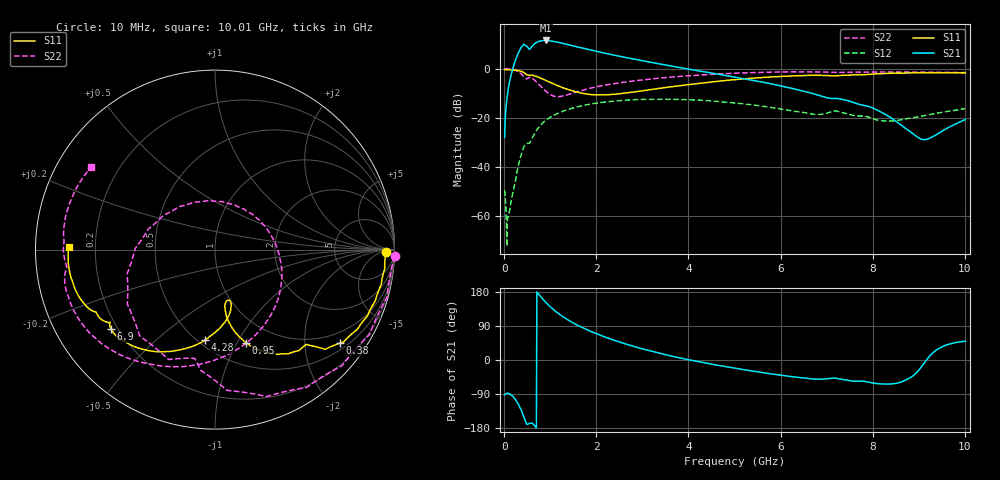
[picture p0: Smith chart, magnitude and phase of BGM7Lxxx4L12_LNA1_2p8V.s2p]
! (c) 2014 Infineon Technologies AG
! BGM7Lxxx4L12 - Silicon Germanium Quad-Band LTE LNA bank
! 20 May 2014
! Special Application Board
! C1 = L1 = 0 Ohm
! C2 = 100 nF
! Vcc = 2.8V
! RF input and output lines de-embedded
! Port 1 reference plane: LNA input AI (pin 8)
! Port 2 reference plane: LNA output AO (pin 7)
! Network Data:
! Measured BGM7Lxxx4L12 device level s-parameters
# GHz S MA R 50
!Freq  MagS11  AngS11  MagS21  AngS21  MagS12  AngS12  MagS22  AngS22
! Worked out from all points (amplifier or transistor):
!   1001 points, 10 MHz to 10.01 GHz, reference 50 ohm
!   highest |S21| = 11.4 dB at 910 MHz (marker M1)
!   |S21| within 3 dB of that: 579.2 MHz to 1.668 GHz (1.089 GHz wide, 96.9 % of centre)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
!   unconditionally stable (mu >= 1): 12.84 MHz to end of sweep
!   at 1.67 GHz: K = 1.13, MAG = 9.6 dB, |S12| = -15.2 dB
!   at 5.01 GHz: K = 1.26, MAG = 2.2 dB, |S12| = -14.0 dB
!   at 10.01 GHz: K = 4.23, MAG = -11.5 dB, |S12| = -16.3 dB
!   lowest NFmin = 0.61 dB at 800 MHz
!   S11 on the Smith chart (normalised r, x): 10 MHz: 38, -11; 380 MHz: 0.67, -2.87; 950 MHz: 0.74, -1.09; 4.28 GHz: 0.55, -0.74; 6.9 GHz: 0.17, -0.33; 10.01 GHz: 0.10, +0.01
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0.01  0.9529 -0.8  0.03963 -91.4  0.003366 -18.5  1.001 -2.2
0.09  0.9465 -8.3  0.3927 -88.9  0.001022 178.1  0.9803 -19.8
0.22  0.9287 -20.5  1.267 -101.2  0.004181 -174.4  0.9288 -49.2
0.38  0.8702 -36.7  2.751 -134.9  0.01893 168.5  0.7649 -86.7
0.45  0.7998 -43.1  3 -156.3  0.02686 152.5  0.6547 -98.0
0.5  0.7455 -45.6  2.79 -169.5  0.03002 142.7  0.6207 -102.9
0.57  0.7314 -47.4  2.576 -167.2  0.03316 144.2  0.6454 -118.8
0.64  0.7183 -52.5  3.043 -170.7  0.04415 144.1  0.5965 -139.2
0.74  0.6707 -60.1  3.532 175.2  0.06164 136.1  0.4926 -167.1
0.91  0.5703 -69.9  3.729 151.3  0.08933 120.1  0.3451 146.5
0.95  0.5474 -71.4  3.689 146.4  0.09482 116.5  0.3181 135.8
1.24  0.4186 -78.8  3.302 117.2  0.1313 96.6  0.2717 60.9
1.68  0.3169 -80.0  2.627 86.4  0.1749 75.6  0.3565 -3.6
2.37  0.2983 -73.6  1.886 52.8  0.2172 51.6  0.4907 -53.6
3.35  0.3926 -80.3  1.254 18.4  0.2378 27.2  0.6345 -95.2
4.28  0.506 -96.1  0.8786 -5.9  0.2265 10.1  0.741 -121.3
5.01  0.5944 -109.8  0.6687 -21.8  0.1987 0.4  0.806 -136.5
6.68  0.7302 -138.6  0.313 -49.9  0.1186 -0.2  0.8594 -165.0
6.9  0.7293 -142.6  0.2702 -50.6  0.118 7.3  0.8537 -169.1
8.35  0.7994 -160.0  0.1057 -63.5  0.08495 21.3  0.8529 167.5
9.11  0.8192 -171.3  0.03582 -9.0  0.1101 43.4  0.8443 155.8
10.01  0.8145 178.8  0.09171 49.6  0.1537 49.2  0.8279 146.3
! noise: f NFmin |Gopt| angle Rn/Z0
0.7  0.6135  0.4607  45.36  0.1722
0.75  0.633  0.4374  48.16  0.1527
0.8  0.6087  0.4143  51.86  0.1348
0.85  0.6246  0.4198  53.9  0.1355
0.9  0.63  0.4295  54.29  0.132
0.95  0.6743  0.3986  57.1  0.1314
1  0.6882  0.3974  61.63  0.1318
